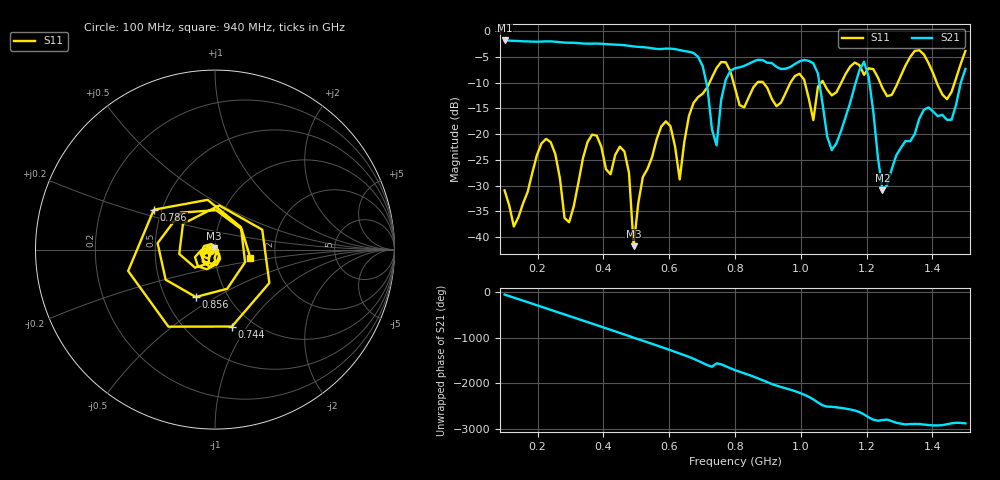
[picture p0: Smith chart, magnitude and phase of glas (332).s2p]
! NanoVNA-App
! Date: 2025-09-25 15:58:03
! Start: 100MHz Stop: 1,5GHz Points: 101
! S-Parameter data: F S11 S21 S12 S22
# Hz S RI R 50
!  Frequency  S11_Real  S11_Imag  S21_Real  S21_Imag  S12_Real  S12_Imag  S22_Real  S22_Imag
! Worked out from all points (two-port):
!   101 points, 100 MHz to 1.5 GHz, reference 50 ohm
!   highest |S21| = -1.80 dB at 100 MHz (marker M1); lowest = -30.9 dB at 1.248 GHz (marker M2)
!   |S21| within 3 dB of the highest: start of sweep to 684.3 MHz
!   lowest |S11| = -41.8 dB at 492 MHz (marker M3), VSWR 1.02, Z = 49.5 + j0.633 ohm
!   |S11| at or under -10 dB: start of sweep to 722.5 MHz; 795.5 MHz to 867.9 MHz (72.45 MHz wide, 8.71 % of centre); 885.8 MHz to 968.5 MHz (82.62 MHz wide, 8.91 % of centre) (the widest 3 of 7)
!   S12 and S22 are empty: the file has one direction only
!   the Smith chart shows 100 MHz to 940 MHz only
!   S11 on the Smith chart (normalised r, x): 100 MHz: 0.95, -0.01; 744 MHz: 0.80, -0.85; 786 MHz: 0.45, +0.24; 856 MHz: 0.71, -0.41; 940 MHz: 1.48, -0.14
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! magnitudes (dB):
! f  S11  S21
! 100 MHz  -30.9  -1.8
! 128 MHz  -37.9  -1.9
! 226 MHz  -20.9  -2.0
! 296 MHz  -37.1  -2.2
! 338 MHz  -24.7  -2.4
! 464 MHz  -23.4  -2.7
! 492 MHz  -41.8  -3.0
! 576 MHz  -18.5  -3.5
! 632 MHz  -28.8  -3.7
! 702 MHz  -12.1  -6.8
! 744 MHz  -7.2  -22.2
! 786 MHz  -7.8  -7.7
! 800 MHz  -11.0  -7.2
! 856 MHz  -10.9  -5.9
! 940 MHz  -13.9  -7.3
! 996 MHz  -8.3  -5.8
! 1.038 GHz  -17.3  -6.2
! 1.094 GHz  -12.5  -23.1
! 1.192 GHz  -8.5  -5.9
! 1.248 GHz  -11.1  -30.9
! 1.276 GHz  -12.4  -26.9
! 1.5 GHz  -3.9  -7.3
